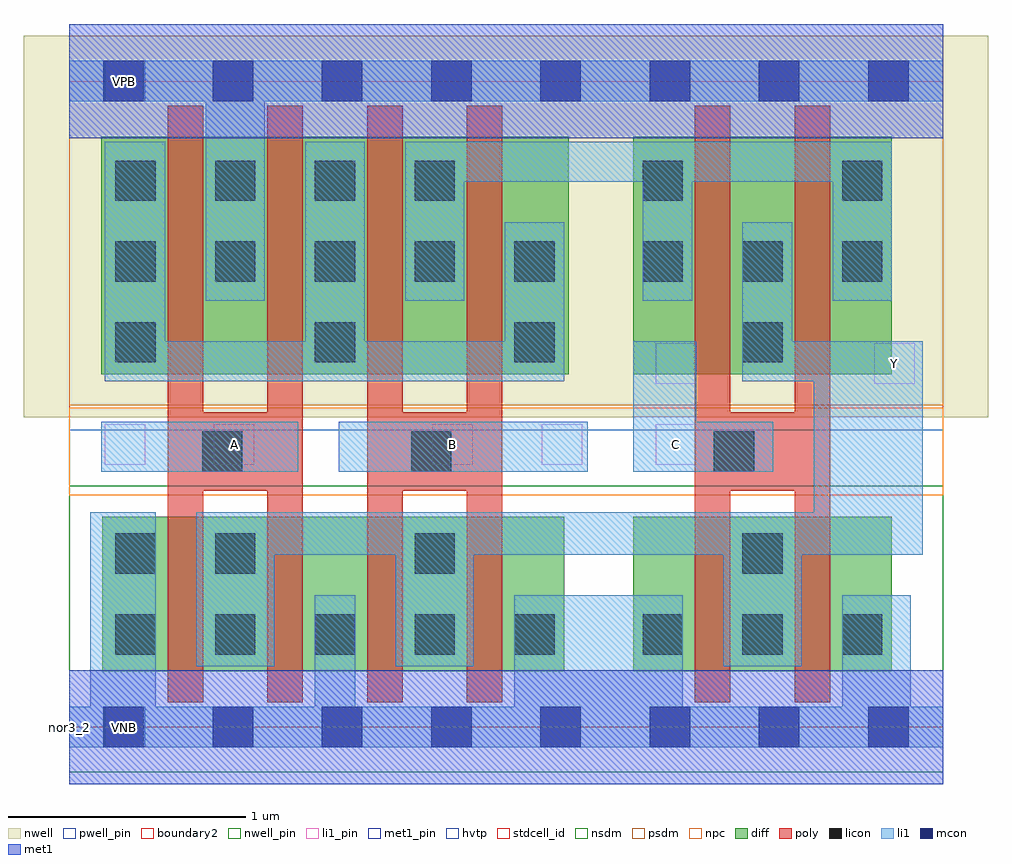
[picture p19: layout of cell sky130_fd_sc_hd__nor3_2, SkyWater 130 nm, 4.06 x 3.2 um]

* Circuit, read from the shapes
.subckt sky130_fd_sc_hd__nor3_2 A B C VGND VNB VPB VPWR Y
XM1 Y A VGND VNB sky130_fd_pr__nfet_01v8 w=0.65 l=0.15 m=2
XM2 Y B VGND VNB sky130_fd_pr__nfet_01v8 w=0.65 l=0.15 m=2
XM3 Y C VGND VNB sky130_fd_pr__nfet_01v8 w=0.65 l=0.15 m=2
XM4 VPWR A n1 VPB sky130_fd_pr__pfet_01v8_hvt w=1 l=0.15 m=2
XM5 n2 B n1 VPB sky130_fd_pr__pfet_01v8_hvt w=1 l=0.15 m=2
XM6 Y C n2 VPB sky130_fd_pr__pfet_01v8_hvt w=1 l=0.15 m=2
.ends

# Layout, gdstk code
import gdstk
lib = gdstk.Library(unit=1e-6, precision=1e-09)
def R(c, l, rs):  # rectangles x0, y0, x1, y1
    for r in rs: c.add(gdstk.rectangle(r[:2], r[2:], *l))
def A(c, l, x, y, w, h, nx, ny, dx, dy):  # array of equal rectangles
    R(c, l, [(x+i*dx, y+j*dy, x+i*dx+w, y+j*dy+h) for i in range(nx) for j in range(ny)])
def P(c, l, *ps):  # polygons
    for p in ps: c.add(gdstk.Polygon(p, *l))
nwell_pin = (64, 16)
nwell = (64, 20)
diff = (65, 20)
poly = (66, 20)
licon = (66, 44)
li1_pin = (67, 16)
li1 = (67, 20)
mcon = (67, 44)
met1_pin = (68, 16)
met1 = (68, 20)
hvtp = (78, 44)
stdcell_id = (81, 4)
nsdm = (93, 44)
psdm = (94, 20)
npc = (95, 20)
pwell_pin = (122, 16)
boundary2 = (236, 0)

sky130_fd_sc_hd__nor3_2 = lib.new_cell('sky130_fd_sc_hd__nor3_2')
R(sky130_fd_sc_hd__nor3_2, nwell_pin, [(0.15,2.635,0.32,2.805)])
R(sky130_fd_sc_hd__nor3_2, nwell, [(-0.19,1.305,3.87,2.91)])
R(sky130_fd_sc_hd__nor3_2, diff, [(0.14,0.235,2.085,0.885), (2.375,0.235,3.465,0.885), (0.135,1.485,2.105,2.485), (2.375,1.485,3.465,2.485)])
P(sky130_fd_sc_hd__nor3_2, poly, [(0.985,2.615),(0.835,2.615),(0.835,1.325),(0.565,1.325),(0.565,2.615),(0.415,2.615),(0.415,0.105),(0.565,0.105),(0.565,0.995),(0.835,0.995),(0.835,0.105),(0.985,0.105)],
  [(1.825,2.615),(1.675,2.615),(1.675,1.325),(1.405,1.325),(1.405,2.615),(1.255,2.615),(1.255,0.105),(1.405,0.105),(1.405,0.995),(1.675,0.995),(1.675,0.105),(1.825,0.105)],
  [(3.205,2.615),(3.055,2.615),(3.055,1.325),(2.785,1.325),(2.785,2.615),(2.635,2.615),(2.635,0.105),(2.785,0.105),(2.785,0.995),(3.055,0.995),(3.055,0.105),(3.205,0.105)])
A(sky130_fd_sc_hd__nor3_2, licon, 0.195, 0.305, 0.17, 0.17, 5, 2, 0.42, 1.57)
A(sky130_fd_sc_hd__nor3_2, licon, 2.415, 0.305, 0.17, 0.17, 3, 2, 0.42, 1.57)
A(sky130_fd_sc_hd__nor3_2, licon, 0.195, 1.535, 0.17, 0.17, 3, 1, 0.84, 0)
A(sky130_fd_sc_hd__nor3_2, licon, 0.195, 2.215, 0.17, 0.17, 4, 1, 0.42, 0)
R(sky130_fd_sc_hd__nor3_2, licon, [(0.195,0.645,0.365,0.815), (0.615,0.645,0.785,0.815), (1.455,0.645,1.625,0.815), (2.835,0.645,3.005,0.815), (0.56,1.075,0.73,1.245), (1.44,1.075,1.61,1.245), (2.715,1.075,2.885,1.245), (2.835,1.535,3.005,1.705), (2.415,2.215,2.585,2.385), (3.255,2.215,3.425,2.385)])
R(sky130_fd_sc_hd__nor3_2, li1_pin, [(0.15,1.105,0.32,1.275), (0.61,1.105,0.78,1.275), (1.53,1.105,1.7,1.275), (1.99,1.105,2.16,1.275), (2.47,1.105,2.64,1.275), (2.47,1.445,2.64,1.615), (3.39,1.445,3.56,1.615)])
R(sky130_fd_sc_hd__nor3_2, li1, [(0.135,1.075,0.965,1.285), (1.135,1.075,2.185,1.285)])
P(sky130_fd_sc_hd__nor3_2, li1, [(3.68,0.085),(3.545,0.085),(3.545,0.555),(3.255,0.555),(3.255,0.085),(2.585,0.085),(2.585,0.555),(1.875,0.555),(1.875,0.085),(1.205,0.085),(1.205,0.555),(1.035,0.555),(1.035,0.085),(0.365,0.085),(0.365,0.905),(0.09,0.905),(0.09,0.085),(0,0.085),(0,-0.085),(3.68,-0.085)],
  [(3.68,2.805),(0,2.805),(0,2.635),(0.575,2.635),(0.575,1.795),(0.825,1.795),(0.825,2.635),(3.68,2.635)],
  [(2.085,2.125),(1.835,2.125),(1.835,1.625),(1.245,1.625),(1.245,2.465),(0.995,2.465),(0.995,1.625),(0.405,1.625),(0.405,2.465),(0.15,2.465),(0.15,1.455),(2.085,1.455)],
  [(2.965,1.285),(2.64,1.285),(2.64,1.625),(2.375,1.625),(2.375,1.075),(2.965,1.075)],
  [(3.465,2.465),(1.415,2.465),(1.415,1.795),(1.665,1.795),(1.665,2.295),(2.415,2.295),(2.415,1.795),(2.625,1.795),(2.625,2.295),(3.215,2.295),(3.215,1.795),(3.465,1.795)],
  [(3.595,1.625),(3.045,1.625),(3.045,2.125),(2.835,2.125),(2.835,1.455),(3.135,1.455),(3.135,0.905),(0.535,0.905),(0.535,0.255),(0.865,0.255),(0.865,0.725),(1.375,0.725),(1.375,0.255),(1.705,0.255),(1.705,0.725),(2.755,0.725),(2.755,0.255),(3.085,0.255),(3.085,0.725),(3.595,0.725)])
A(sky130_fd_sc_hd__nor3_2, mcon, 0.145, -0.085, 0.17, 0.17, 8, 2, 0.46, 2.72)
R(sky130_fd_sc_hd__nor3_2, met1_pin, [(0.15,-0.085,0.32,0.085), (0.15,2.635,0.32,2.805)])
R(sky130_fd_sc_hd__nor3_2, hvtp, [(0,1.25,3.68,2.72)])
R(sky130_fd_sc_hd__nor3_2, stdcell_id, [(0,0,3.68,2.72)])
R(sky130_fd_sc_hd__nor3_2, nsdm, [(0,-0.19,3.68,1.015)])
R(sky130_fd_sc_hd__nor3_2, psdm, [(0,1.355,3.68,2.91)])
R(sky130_fd_sc_hd__nor3_2, npc, [(0,0.975,3.68,1.345)])
R(sky130_fd_sc_hd__nor3_2, pwell_pin, [(0.15,-0.085,0.32,0.085)])
R(sky130_fd_sc_hd__nor3_2, boundary2, [(0,0,3.68,2.72)])
sky130_fd_sc_hd__nor3_2.add(gdstk.FlexPath([(0,2.72),(3.68,2.72)], 0.48, ends="flush", simple_path=True, layer=68, datatype=20))  # met1
sky130_fd_sc_hd__nor3_2.add(gdstk.FlexPath([(0,0),(3.68,0)], 0.48, ends="flush", simple_path=True, layer=68, datatype=20))  # met1
sky130_fd_sc_hd__nor3_2.add(gdstk.Label('C', (2.555,1.19), layer=67, texttype=5))
sky130_fd_sc_hd__nor3_2.add(gdstk.Label('Y', (3.475,1.53), layer=67, texttype=5))
sky130_fd_sc_hd__nor3_2.add(gdstk.Label('A', (0.695,1.19), layer=67, texttype=5))
sky130_fd_sc_hd__nor3_2.add(gdstk.Label('B', (1.615,1.19), layer=67, texttype=5))
sky130_fd_sc_hd__nor3_2.add(gdstk.Label('VPB', (0.235,2.72), layer=64, texttype=5))
sky130_fd_sc_hd__nor3_2.add(gdstk.Label('VNB', (0.235,0), layer=64, texttype=59))
sky130_fd_sc_hd__nor3_2.add(gdstk.Label('VGND', (0.23,0), layer=68, texttype=5))
sky130_fd_sc_hd__nor3_2.add(gdstk.Label('VPWR', (0.235,2.72), layer=68, texttype=5))
sky130_fd_sc_hd__nor3_2.add(gdstk.Label('nor3_2', (0,0), layer=83, texttype=44))

lib.write_gds('sky130_fd_sc_hd__nor3_2.gds')
